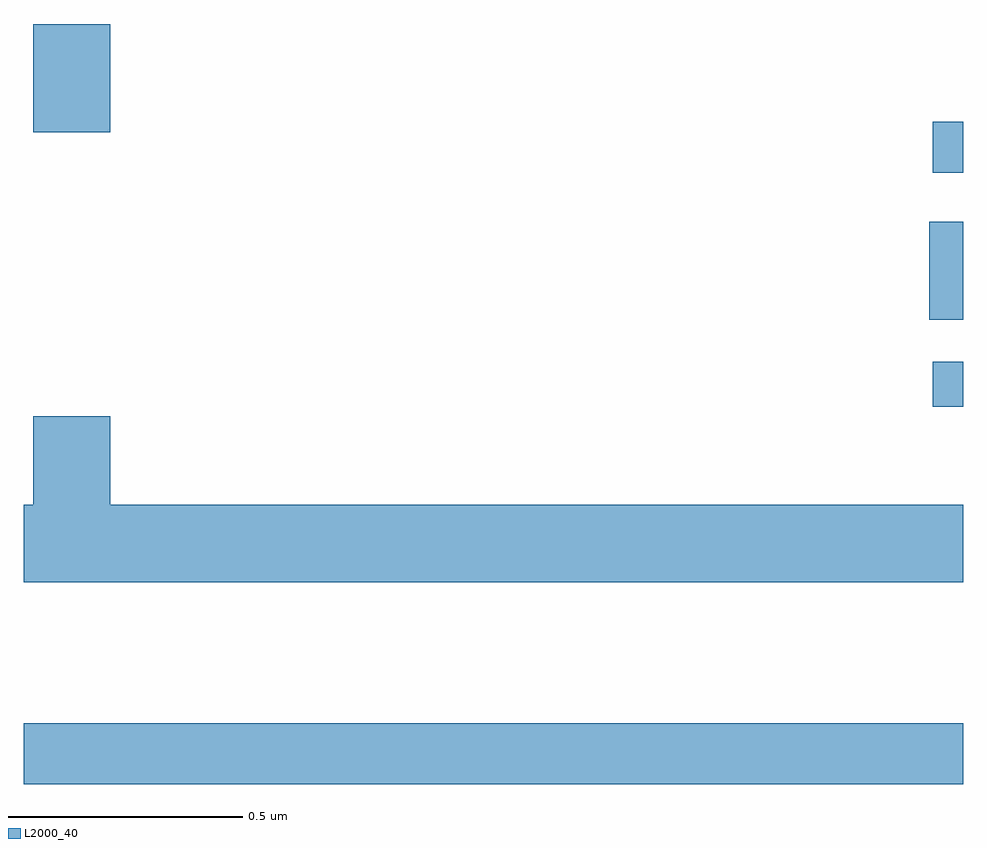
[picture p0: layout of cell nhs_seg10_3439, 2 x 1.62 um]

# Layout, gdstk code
import gdstk
lib = gdstk.Library(unit=1e-6, precision=1e-09)
def R(c, l, rs):  # rectangles x0, y0, x1, y1
    for r in rs: c.add(gdstk.rectangle(r[:2], r[2:], *l))
def P(c, l, *ps):  # polygons
    for p in ps: c.add(gdstk.Polygon(p, *l))
L2000_40 = (2000, 40)

nhs_seg10_3439 = lib.new_cell('nhs_seg10_3439')
R(nhs_seg10_3439, L2000_40, [(153,1303.882,155,1304.011), (154.935,1304.685,155,1304.781), (154.928,1304.87,155,1305.079), (154.935,1305.183,155,1305.292), (153.02,1305.27,153.184,1305.5)])
P(nhs_seg10_3439, L2000_40, [(155,1304.476),(153.184,1304.476),(153.184,1304.665),(153.02,1304.665),(153.02,1304.476),(153,1304.476),(153,1304.312),(155,1304.312)])

lib.write_gds('nhs_seg10_3439.gds')
